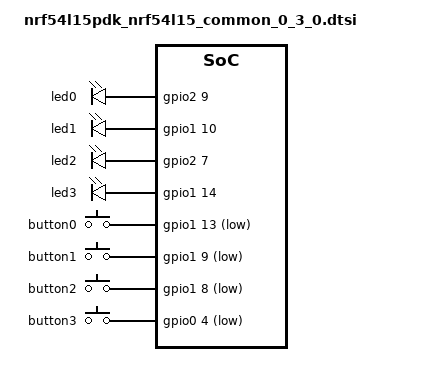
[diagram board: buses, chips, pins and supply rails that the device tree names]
/*
 * Copyright (c) 2024 Nordic Semiconductor ASA
 *
 * SPDX-License-Identifier: Apache-2.0
 */

&led0 {
	gpios = <&gpio2 9 GPIO_ACTIVE_HIGH>;
};

&led1 {
	gpios = <&gpio1 10 GPIO_ACTIVE_HIGH>;
};

&led2 {
	gpios = <&gpio2 7 GPIO_ACTIVE_HIGH>;
};

&led3 {
	gpios = <&gpio1 14 GPIO_ACTIVE_HIGH>;
};

&button0 {
	gpios = <&gpio1 13 (GPIO_PULL_UP | GPIO_ACTIVE_LOW)>;
};

&button1 {
	gpios = <&gpio1 9 (GPIO_PULL_UP | GPIO_ACTIVE_LOW)>;
};

&button2 {
	gpios = <&gpio1 8 (GPIO_PULL_UP | GPIO_ACTIVE_LOW)>;
};

&button3 {
	gpios = <&gpio0 4 (GPIO_PULL_UP | GPIO_ACTIVE_LOW)>;
};
